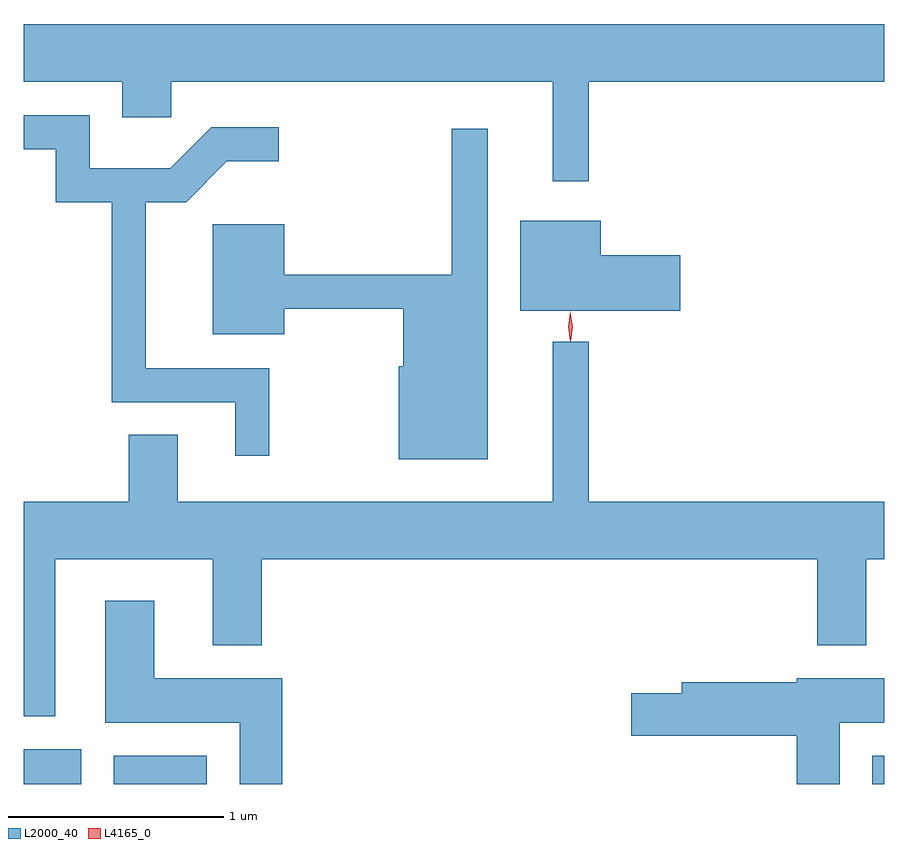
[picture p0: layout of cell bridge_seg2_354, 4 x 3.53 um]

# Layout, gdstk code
import gdstk
lib = gdstk.Library(unit=1e-6, precision=1e-09)
def R(c, l, rs):  # rectangles x0, y0, x1, y1
    for r in rs: c.add(gdstk.rectangle(r[:2], r[2:], *l))
def P(c, l, *ps):  # polygons
    for p in ps: c.add(gdstk.Polygon(p, *l))
L2000_40 = (2000, 40)
L4165_0 = (4165, 0)

bridge_seg2_354 = lib.new_cell('bridge_seg2_354')
R(bridge_seg2_354, L2000_40, [(438.142,1020.632,438.409,1020.794), (438.561,1020.632,438.994,1020.764), (442.086,1020.632,442.142,1020.764)])
P(bridge_seg2_354, L2000_40, [(440.769,1023.896),(442.142,1023.896),(442.142,1024.164),(438.142,1024.164),(438.142,1023.896),(438.601,1023.896),(438.601,1023.731),(438.829,1023.731),(438.829,1023.896),(440.601,1023.896),(440.601,1023.433),(440.769,1023.433)],
  [(439.284,1022.564),(438.709,1022.564),(438.709,1023.336),(438.897,1023.336),(439.087,1023.526),(439.328,1023.526),(439.328,1023.684),(439.014,1023.684),(438.824,1023.494),(438.449,1023.494),(438.449,1023.739),(438.142,1023.739),(438.142,1023.581),(438.291,1023.581),(438.291,1023.336),(438.551,1023.336),(438.551,1022.406),(439.126,1022.406),(439.126,1022.158),(439.284,1022.158)],
  [(440.299,1023.678),(440.131,1023.678),(440.131,1022.999),(439.354,1022.999),(439.354,1023.234),(439.021,1023.234),(439.021,1022.721),(439.354,1022.721),(439.354,1022.841),(439.906,1022.841),(439.906,1022.574),(439.886,1022.574),(439.886,1022.141),(440.299,1022.141)],
  [(441.194,1023.089),(440.824,1023.089),(440.824,1023.249),(440.451,1023.249),(440.451,1022.831),(441.194,1022.831)],
  [(438.289,1021.676),(439.021,1021.676),(439.021,1021.276),(439.249,1021.276),(439.249,1021.676),(441.831,1021.676),(441.831,1021.276),(442.059,1021.276),(442.059,1021.676),(442.142,1021.676),(442.142,1021.944),(440.769,1021.944),(440.769,1022.688),(440.601,1022.688),(440.601,1021.944),(438.859,1021.944),(438.859,1022.254),(438.631,1022.254),(438.631,1021.944),(438.142,1021.944),(438.142,1020.946),(438.289,1020.946)],
  [(439.344,1021.124),(438.749,1021.124),(438.749,1021.484),(438.521,1021.484),(438.521,1020.916),(439.146,1020.916),(439.146,1020.632),(439.344,1020.632)],
  [(441.934,1020.916),(442.142,1020.916),(442.142,1021.124),(441.736,1021.124),(441.736,1021.104),(441.201,1021.104),(441.201,1021.054),(440.966,1021.054),(440.966,1020.856),(441.736,1020.856),(441.736,1020.632),(441.934,1020.632)])
P(bridge_seg2_354, L4165_0, [(440.683,1022.69),(440.683,1022.69),(440.673,1022.758),(440.682,1022.825),(440.682,1022.826),(440.683,1022.825),(440.693,1022.758),(440.684,1022.69)],
  [(440.683,1022.693),(440.683,1022.693),(440.673,1022.756),(440.682,1022.82),(440.683,1022.82),(440.683,1022.82),(440.693,1022.756),(440.684,1022.693)])

lib.write_gds('bridge_seg2_354.gds')
